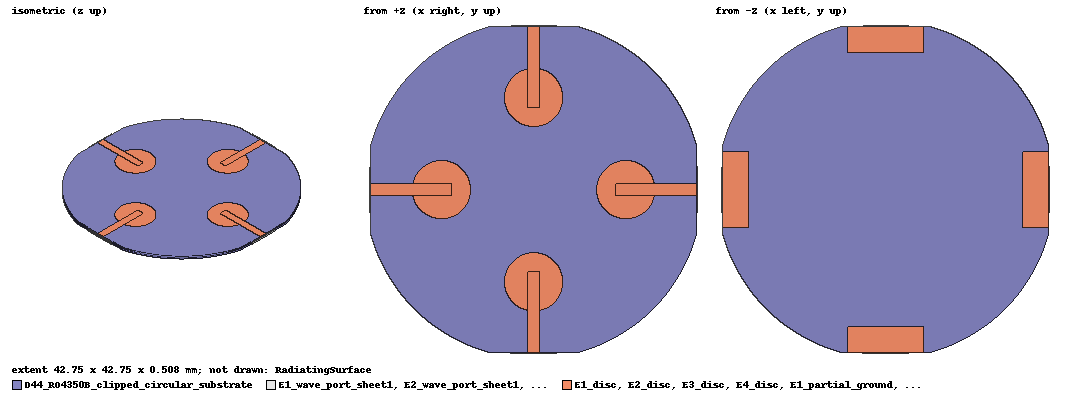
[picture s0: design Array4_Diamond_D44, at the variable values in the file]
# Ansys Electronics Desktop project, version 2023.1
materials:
  vacuum: permittivity=1
  RO4350B_custom_D44: permittivity=3.48 permeability=1 dielectric_loss_tangent=0.0037
  copper: permeability=0.999991 conductivity=58000000
  pec: conductivity=1e+30
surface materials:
  Steel-oxidised-surface

design Array4_Diamond_D44 (HFSS, HFSS Modal Network, model units mm)
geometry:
  D44_RO4350B_clipped_circular_substrate [RO4350B_custom_D44] = polyline(z=0mm, xy in mm: (21.2, -5.8787754) (21.2, 5.8787754) (20.829171, 7.0813578) (20.390186, 8.2607689) (19.884482, 9.4131496) (19.313712, 10.534729) (18.679746, 11.621838) (17.984656, 12.670918) (17.230718, 13.678536) (16.420399, 14.641397) (15.556349, 15.556349) (14.641397, 16.420399) (13.678536, 17.230718) (12.670918, 17.984656) (11.621838, 18.679746) (10.534729, 19.313712) (9.4131496, 19.884482) (8.2607689, 20.390186) (7.0813578, 20.829171) (5.8787754, 21.2) (-5.8787754, 21.2) (-7.0813578, 20.829171) (-8.2607689, 20.390186) (-9.4131496, 19.884482) (-10.534729, 19.313712) (-11.621838, 18.679746) (-12.670918, 17.984656) (-13.678536, 17.230718) (-14.641397, 16.420399) (-15.556349, 15.556349) (-16.420399, 14.641397) (-17.230718, 13.678536) (-17.984656, 12.670918) (-18.679746, 11.621838) (-19.313712, 10.534729) (-19.884482, 9.4131496) (-20.390186, 8.2607689) (-20.829171, 7.0813578) (-21.2, 5.8787754) (-21.2, -5.8787754) (-20.829171, -7.0813578) (-20.390186, -8.2607689) (-19.884482, -9.4131496) (-19.313712, -10.534729) (-18.679746, -11.621838) (-17.984656, -12.670918) (-17.230718, -13.678536) (-16.420399, -14.641397) (-15.556349, -15.556349) (-14.641397, -16.420399) (-13.678536, -17.230718) (-12.670918, -17.984656) (-11.621838, -18.679746) (-10.534729, -19.313712) (-9.4131496, -19.884482) (-8.2607689, -20.390186) (-7.0813578, -20.829171) (-5.8787754, -21.2) (5.8787754, -21.2) (7.0813578, -20.829171) (8.2607689, -20.390186) (9.4131496, -19.884482) (10.534729, -19.313712) (11.621838, -18.679746) (12.670918, -17.984656) (13.678536, -17.230718) (14.641397, -16.420399) (15.556349, -15.556349) (16.420399, -14.641397) (17.230718, -13.678536) (17.984656, -12.670918) (18.679746, -11.621838) (19.313712, -10.534729) (19.884482, -9.4131496) (20.390186, -8.2607689) (20.829171, -7.0813578) (21.2, -5.8787754), closed, covered)
  D44_RO4350B_clipped_circular_substrate.thicken(0.508mm)
  E1_disc [copper] = circle(normal=Z, centre=(12.020815mm, 0mm, 0.508mm), radius=3.8mm, segments=72)
  E1_feed_line [copper] = polyline(z=0.508mm, xy in mm: (10.690815, -0.75) (21.2, -0.75) (21.2, 0.75) (10.690815, 0.75) (10.690815, -0.75), closed, covered)
  E1_partial_ground [copper] = polyline(z=0mm, xy in mm: (17.820815, -5) (21.2, -5) (21.2, 5) (17.820815, 5) (17.820815, -5), closed, covered)
  E1_wave_port_sheet = polyline(x=21.2mm, yz in mm: (-3, 0) (3, 0) (3, 0.508) (-3, 0.508) (-3, 0), closed, covered)
  E1_wave_port_sheet1 [pec] = polyline(x=21.2mm, yz in mm: (-3, 0) (3, 0) (3, 0.508) (-3, 0.508) (-3, 0), closed, covered)
  E1_wave_port_sheet1.thicken(0.17458522mm)
  E2_disc [copper] = circle(normal=Z, centre=(7.3606265e-16mm, 12.020815mm, 0.508mm), radius=3.8mm, segments=72)
  E2_feed_line [copper] = polyline(z=0.508mm, xy in mm: (0.75, 10.690815) (0.75, 21.2) (-0.75, 21.2) (-0.75, 10.690815) (0.75, 10.690815), closed, covered)
  E2_partial_ground [copper] = polyline(z=0mm, xy in mm: (5, 17.820815) (5, 21.2) (-5, 21.2) (-5, 17.820815) (5, 17.820815), closed, covered)
  E2_wave_port_sheet = polyline(y=21.2mm, xz in mm: (3, 0) (-3, 0) (-3, 0.508) (3, 0.508) (3, 0), closed, covered)
  E2_wave_port_sheet1 [pec] = polyline(y=21.2mm, xz in mm: (3, 0) (-3, 0) (-3, 0.508) (3, 0.508) (3, 0), closed, covered)
  E2_wave_port_sheet1.thicken(0.17458522mm)
  E3_disc [copper] = circle(normal=Z, centre=(-12.020815mm, 1.4721253e-15mm, 0.508mm), radius=3.8mm, segments=72)
  E3_feed_line [copper] = polyline(z=0.508mm, xy in mm: (-10.690815, 0.75) (-21.2, 0.75) (-21.2, -0.75) (-10.690815, -0.75) (-10.690815, 0.75), closed, covered)
  E3_partial_ground [copper] = polyline(z=0mm, xy in mm: (-17.820815, 5) (-21.2, 5) (-21.2, -5) (-17.820815, -5) (-17.820815, 5), closed, covered)
  E3_wave_port_sheet = polyline(x=-21.2mm, yz in mm: (3, 0) (-3, 0) (-3, 0.508) (3, 0.508) (3, 0), closed, covered)
  E3_wave_port_sheet1 [pec] = polyline(x=-21.2mm, yz in mm: (3, 0) (-3, 0) (-3, 0.508) (3, 0.508) (3, 0), closed, covered)
  E3_wave_port_sheet1.thicken(0.17458522mm)
  E4_disc [copper] = circle(normal=Z, centre=(-2.2081879e-15mm, -12.020815mm, 0.508mm), radius=3.8mm, segments=72)
  E4_feed_line [copper] = polyline(z=0.508mm, xy in mm: (-0.75, -10.690815) (-0.75, -21.2) (0.75, -21.2) (0.75, -10.690815) (-0.75, -10.690815), closed, covered)
  E4_partial_ground [copper] = polyline(z=0mm, xy in mm: (-5, -17.820815) (-5, -21.2) (5, -21.2) (5, -17.820815) (-5, -17.820815), closed, covered)
  E4_wave_port_sheet = polyline(y=-21.2mm, xz in mm: (-3, 0) (3, 0) (3, 0.508) (-3, 0.508) (-3, 0), closed, covered)
  E4_wave_port_sheet1 [pec] = polyline(y=-21.2mm, xz in mm: (-3, 0) (3, 0) (3, 0.508) (-3, 0.508) (-3, 0), closed, covered)
  E4_wave_port_sheet1.thicken(0.17458522mm)
  RadiatingSurface [vacuum] = region(absolute_offset=14.285714mm on all sides)
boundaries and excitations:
  D44_PEC_metallization: Perfect E Objects=[E1_disc, E1_feed_line, E1_partial_ground, E2_disc, E2_feed_line, E2_partial_ground, E3_disc, E3_feed_line, E3_partial_ground, E4_disc, E4_feed_line, E4_partial_ground]
  Open1: Radiation Objects=RadiatingSurface
  P1: Wave Port Objects=E1_wave_port_sheet WavePortType=Modal NumModes=1 Modes{Mode1{IntLine{(21.2, 0, 0.508) -> (21.2, 0, 0)} CharImp=Zpi RenormImp=50ohm}}
  P2: Wave Port Objects=E2_wave_port_sheet WavePortType=Modal NumModes=1 Modes{Mode1{IntLine{(0, 21.2, 0.508) -> (0, 21.2, 0)} CharImp=Zpi RenormImp=50ohm}}
  P3: Wave Port Objects=E3_wave_port_sheet WavePortType=Modal NumModes=1 Modes{Mode1{IntLine{(-21.2, 0, 0.508) -> (-21.2, 0, 0)} CharImp=Zpi RenormImp=50ohm}}
  P4: Wave Port Objects=E4_wave_port_sheet WavePortType=Modal NumModes=1 Modes{Mode1{IntLine{(0, -21.2, 0.508) -> (0, -21.2, 0)} CharImp=Zpi RenormImp=50ohm}}
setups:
  Setup_CH9: HfssDriven Frequency=8GHz MaxDeltaS=0.02 MaximumPasses=7 MinimumPasses=2 MinimumConvergedPasses=1 PercentRefinement=30 BasisOrder=1 PortAccuracy=2 DrivenSolverType="Direct Solver"
    sweep Sweep_CH9: 7.5GHz to 8.5GHz step 0.02GHz; Type=Discrete SaveFields SaveRadFields
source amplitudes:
  P1:1: 1W 0deg
  P2:1, P3:1, P4:1: 0W 0deg
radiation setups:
  3D: Infinite Sphere Theta=0deg..180deg step 2deg Phi=-180deg..180deg step 2deg
  Elevation: Infinite Sphere Theta=-180deg..180deg step 1deg Phi=0deg..90deg step 90deg
  Azimuth: Infinite Sphere Theta=90deg..90deg step 0deg Phi=-180deg..180deg step 1deg
  Upper_Hemisphere_5deg: Infinite Sphere Theta=0deg..360deg step 5deg Phi=0deg..90deg step 5deg
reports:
  D44_S_Parameters_and_Isolation: dB(S(P4:1,P4:1)), dB(S(P2:1,P2:1)), dB(S(P3:1,P3:1)), dB(S(P1:1,P1:1)), dB(S(P4:1,P2:1)), dB(S(P4:1,P3:1)), dB(S(P4:1,P1:1)), dB(S(P2:1,P4:1)), dB(S(P2:1,P3:1)), dB(S(P2:1,P1:1)), dB(S(P3:1,P4:1)), dB(S(P3:1,P2:1)), dB(S(P3:1,P1:1)), dB(S(P1:1,P4:1)), dB(S(P1:1,P2:1)), dB(S(P1:1,P3:1)) vs Freq on Setup_CH9 : Sweep_CH9
  D44_3D_GainTotal_8GHz: dB(GainTotal) vs Phi, Theta on Setup_CH9 : Sweep_CH9, Upper_Hemisphere_5deg [Freq=8GHz]
  D44_3D_RealizedGainTotal_8GHz: dB(RealizedGainTotal) vs Phi, Theta on Setup_CH9 : Sweep_CH9, Upper_Hemisphere_5deg [Freq=8GHz]
  D44_XY_GainTotal_8GHz: dB(GainTotal) on Setup_CH9 : Sweep_CH9, Upper_Hemisphere_5deg [Theta=all Phi=90deg Freq=8GHz]
  D44_XY_RealizedGainTotal_8GHz: dB(RealizedGainTotal) on Setup_CH9 : Sweep_CH9, Upper_Hemisphere_5deg [Theta=all Phi=90deg Freq=8GHz]
  D44_XY_GainTotal_8GHz_View: dB(GainTotal) on Setup_CH9 : Sweep_CH9, Upper_Hemisphere_5deg [Theta=all Phi=90deg Freq=8GHz]
